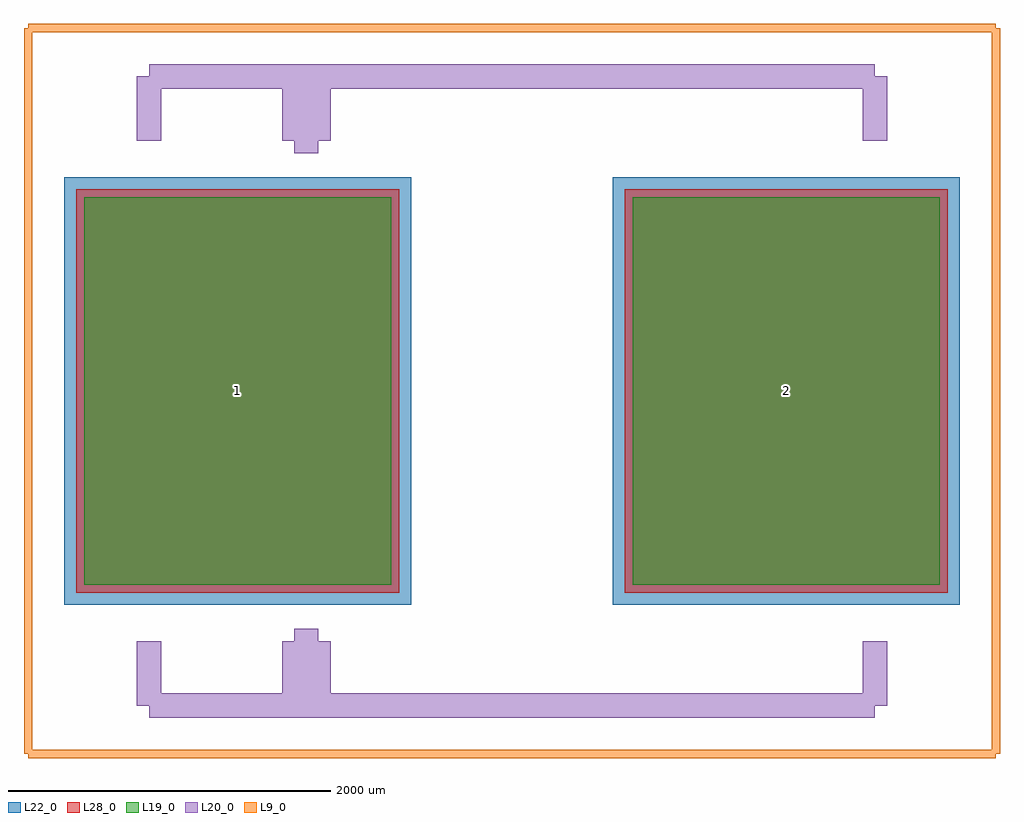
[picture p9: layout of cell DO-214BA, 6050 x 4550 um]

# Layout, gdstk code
import gdstk
lib = gdstk.Library(unit=1e-6, precision=1e-09)
def R(c, l, rs):  # rectangles x0, y0, x1, y1
    for r in rs: c.add(gdstk.rectangle(r[:2], r[2:], *l))
L9_0 = (9, 0)
L19_0 = (19, 0)
L20_0 = (20, 0)
L22_0 = (22, 0)
L28_0 = (28, 0)

do_214ba = lib.new_cell('DO-214BA')
R(do_214ba, L19_0, [(-2650,-1200,-750,1200), (750,-1200,2650,1200)])
R(do_214ba, L22_0, [(-2775,-1325,-625,1325), (625,-1325,2775,1325)])
R(do_214ba, L28_0, [(-2700,-1250,-700,1250), (700,-1250,2700,1250)])
do_214ba.add(gdstk.FlexPath([(2250,-1950),(-2250,-1950)], 149.998, ends="flush", simple_path=True, layer=20, datatype=0))  # L20_0
do_214ba.add(gdstk.FlexPath([(-2250,1950),(2250,1950)], 149.998, ends="flush", simple_path=True, layer=20, datatype=0))  # L20_0
do_214ba.add(gdstk.FlexPath([(-1200,1550),(-1200,1950)], 149.998, ends="flush", simple_path=True, layer=20, datatype=0))  # L20_0
do_214ba.add(gdstk.FlexPath([(-1350,1550),(-1200,1550)], 149.998, ends="flush", simple_path=True, layer=20, datatype=0))  # L20_0
do_214ba.add(gdstk.FlexPath([(-1350,1950),(-1350,1550)], 149.998, ends="flush", simple_path=True, layer=20, datatype=0))  # L20_0
do_214ba.add(gdstk.FlexPath([(-1200,-1550),(-1200,-1950)], 149.998, ends="flush", simple_path=True, layer=20, datatype=0))  # L20_0
do_214ba.add(gdstk.FlexPath([(-1350,-1550),(-1200,-1550)], 149.998, ends="flush", simple_path=True, layer=20, datatype=0))  # L20_0
do_214ba.add(gdstk.FlexPath([(-1350,-1950),(-1350,-1550)], 149.998, ends="flush", simple_path=True, layer=20, datatype=0))  # L20_0
do_214ba.add(gdstk.FlexPath([(2250,1950),(2250,1550)], 149.998, ends="flush", simple_path=True, layer=20, datatype=0))  # L20_0
do_214ba.add(gdstk.FlexPath([(2250,-1950),(2250,-1550)], 149.998, ends="flush", simple_path=True, layer=20, datatype=0))  # L20_0
do_214ba.add(gdstk.FlexPath([(-2250,-1950),(-2250,-1550)], 149.998, ends="flush", simple_path=True, layer=20, datatype=0))  # L20_0
do_214ba.add(gdstk.FlexPath([(-2250,1950),(-2250,1550)], 149.998, ends="flush", simple_path=True, layer=20, datatype=0))  # L20_0
do_214ba.add(gdstk.FlexPath([(-3000,-2250),(-3000,2250)], 50, ends="flush", simple_path=True, layer=9, datatype=0))  # L9_0
do_214ba.add(gdstk.FlexPath([(3000,-2250),(-3000,-2250)], 50, ends="flush", simple_path=True, layer=9, datatype=0))  # L9_0
do_214ba.add(gdstk.FlexPath([(3000,2250),(3000,-2250)], 50, ends="flush", simple_path=True, layer=9, datatype=0))  # L9_0
do_214ba.add(gdstk.FlexPath([(-3000,2250),(3000,2250)], 50, ends="flush", simple_path=True, layer=9, datatype=0))  # L9_0
do_214ba.add(gdstk.Label('1', (-1700,0), layer=28, texttype=0))
do_214ba.add(gdstk.Label('2', (1700,0), layer=28, texttype=0))
do_214ba.add(gdstk.Label('type', (0,-3000), layer=9, texttype=0))
do_214ba.add(gdstk.Label('devicename', (0,3000), layer=9, texttype=0))

lib.write_gds('DO-214BA.gds')
